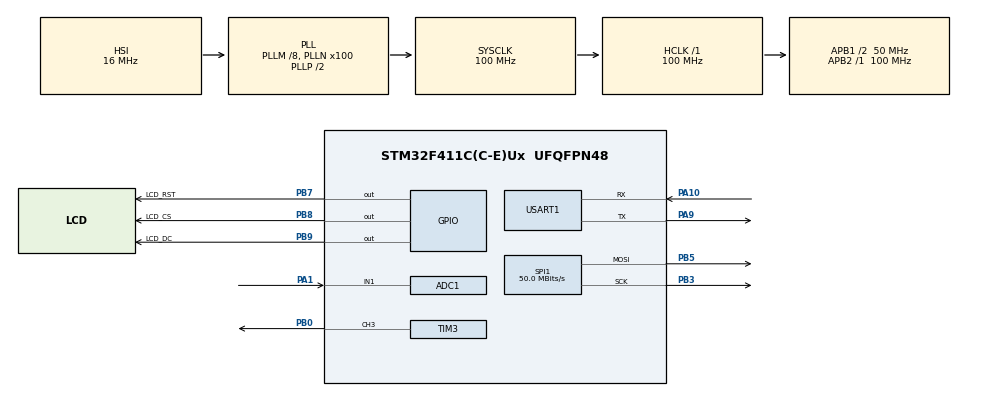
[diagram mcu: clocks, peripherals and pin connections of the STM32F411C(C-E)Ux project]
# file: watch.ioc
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ADC1.Channel-0\#ChannelRegularConversion=ADC_CHANNEL_1
ADC1.NbrOfConversionFlag=1
ADC1.Rank-0\#ChannelRegularConversion=1
ADC1.SamplingTime-0\#ChannelRegularConversion=ADC_SAMPLETIME_3CYCLES
ADC1.master=1
Dma.Request0=SPI1_TX
Dma.Request1=USART1_RX
Dma.Request2=USART1_TX
Dma.SPI1_TX.0.Direction=DMA_MEMORY_TO_PERIPH
Dma.SPI1_TX.0.FIFOMode=DMA_FIFOMODE_DISABLE
Dma.SPI1_TX.0.Instance=DMA2_Stream2
Dma.SPI1_TX.0.MemDataAlignment=DMA_MDATAALIGN_BYTE
Dma.SPI1_TX.0.MemInc=DMA_MINC_ENABLE
Dma.SPI1_TX.0.Mode=DMA_NORMAL
Dma.SPI1_TX.0.PeriphDataAlignment=DMA_PDATAALIGN_BYTE
Dma.SPI1_TX.0.PeriphInc=DMA_PINC_DISABLE
Dma.SPI1_TX.0.Priority=DMA_PRIORITY_LOW
Dma.USART1_RX.1.Direction=DMA_PERIPH_TO_MEMORY
Dma.USART1_RX.1.FIFOMode=DMA_FIFOMODE_DISABLE
Dma.USART1_RX.1.Instance=DMA2_Stream5
Dma.USART1_RX.1.MemDataAlignment=DMA_MDATAALIGN_BYTE
Dma.USART1_RX.1.MemInc=DMA_MINC_ENABLE
Dma.USART1_RX.1.Mode=DMA_NORMAL
Dma.USART1_RX.1.PeriphDataAlignment=DMA_PDATAALIGN_BYTE
Dma.USART1_RX.1.PeriphInc=DMA_PINC_DISABLE
Dma.USART1_RX.1.Priority=DMA_PRIORITY_LOW
Dma.USART1_TX.2.Direction=DMA_MEMORY_TO_PERIPH
Dma.USART1_TX.2.FIFOMode=DMA_FIFOMODE_DISABLE
Dma.USART1_TX.2.Instance=DMA2_Stream7
Dma.USART1_TX.2.MemDataAlignment=DMA_MDATAALIGN_BYTE
Dma.USART1_TX.2.MemInc=DMA_MINC_ENABLE
Dma.USART1_TX.2.Mode=DMA_NORMAL
Dma.USART1_TX.2.PeriphDataAlignment=DMA_PDATAALIGN_BYTE
Dma.USART1_TX.2.PeriphInc=DMA_PINC_DISABLE
Dma.USART1_TX.2.Priority=DMA_PRIORITY_LOW
FREERTOS.Tasks01=defaultTask,24,128,StartDefaultTask,Default,NULL,Dynamic,NULL,NULL
FREERTOS.configUSE_IDLE_HOOK=1
FREERTOS.configUSE_TICK_HOOK=1
Mcu.Family=STM32F4
Mcu.Name=STM32F411C(C-E)Ux
Mcu.Package=UFQFPN48
NVIC.DMA2_Stream2_IRQn=true\:5\:0\:true\:false\:true\:true\:false\:true\:true
NVIC.DMA2_Stream5_IRQn=true\:5\:0\:false\:false\:true\:true\:false\:true\:true
NVIC.DMA2_Stream7_IRQn=true\:5\:0\:false\:false\:true\:true\:false\:true\:true
NVIC.PriorityGroup=NVIC_PRIORITYGROUP_4
NVIC.TIM1_UP_TIM10_IRQn=true\:15\:0\:false\:false\:true\:false\:false\:true\:true
NVIC.TimeBase=TIM1_UP_TIM10_IRQn
NVIC.TimeBaseIP=TIM1
NVIC.USART1_IRQn=true\:5\:0\:false\:false\:true\:true\:true\:true\:true
PA1.Signal=ADCx_IN1
PA10.Mode=Asynchronous
PA10.Signal=USART1_RX
PA13.Mode=Serial_Wire
PA13.Signal=SYS_JTMS-SWDIO
PA14.Mode=Serial_Wire
PA14.Signal=SYS_JTCK-SWCLK
PA9.Mode=Asynchronous
PA9.Signal=USART1_TX
PB0.Signal=S_TIM3_CH3
PB3.Mode=TX_Only_Simplex_Unidirect_Master
PB3.Signal=SPI1_SCK
PB5.Mode=TX_Only_Simplex_Unidirect_Master
PB5.Signal=SPI1_MOSI
PB7.GPIO_Label=LCD_RST
PB7.Signal=GPIO_Output
PB8.GPIO_Label=LCD_CS
PB8.Signal=GPIO_Output
PB9.GPIO_Label=LCD_DC
PB9.Signal=GPIO_Output
PC14-OSC32_IN.Mode=LSE-External-Oscillator
PC14-OSC32_IN.Signal=RCC_OSC32_IN
PC15-OSC32_OUT.Mode=LSE-External-Oscillator
PC15-OSC32_OUT.Signal=RCC_OSC32_OUT
ProjectManager.HeapSize=0x200
ProjectManager.StackSize=0x400
ProjectManager.TargetToolchain=MDK-ARM V5.32
RCC.48MHZClocksFreq_Value=50000000
RCC.AHBFreq_Value=100000000
RCC.APB1CLKDivider=RCC_HCLK_DIV2
RCC.APB1Freq_Value=50000000
RCC.APB1TimFreq_Value=100000000
RCC.APB2Freq_Value=100000000
RCC.APB2TimFreq_Value=100000000
RCC.CortexFreq_Value=100000000
RCC.HCLKFreq_Value=100000000
RCC.HSE_VALUE=25000000
RCC.HSI_VALUE=16000000
RCC.PLLM=8
RCC.PLLN=100
RCC.SYSCLKFreq_VALUE=100000000
RCC.SYSCLKSource=RCC_SYSCLKSOURCE_PLLCLK
RCC.VCOOutputFreq_Value=200000000
SH.ADCx_IN1.0=ADC1_IN1,IN1
SH.S_TIM3_CH3.0=TIM3_CH3,PWM Generation3 CH3
SPI1.CalculateBaudRate=50.0 MBits/s
SPI1.Direction=SPI_DIRECTION_2LINES
SPI1.Mode=SPI_MODE_MASTER
SPI1.VirtualType=VM_MASTER
TIM3.Channel-PWM\ Generation3\ CH3=TIM_CHANNEL_3
TIM3.Period=499
TIM3.Prescaler=99
USART1.VirtualMode=VM_ASYNC
VP_FREERTOS_VS_CMSIS_V2.Mode=CMSIS_V2
VP_SYS_VS_tim1.Mode=TIM1
board=custom

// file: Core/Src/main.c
/* USER CODE BEGIN Header */
/**
  ******************************************************************************
  * @file           : main.c
  * @brief          : Main program body
  ******************************************************************************
  * @attention
  *
  * Copyright (c) 2026 STMicroelectronics.
  * All rights reserved.
  *
  * This software is licensed under terms that can be found in the LICENSE file
  * in the root directory of this software component.
  * If no LICENSE file comes with this software, it is provided AS-IS.
  *
  ******************************************************************************
  */
/* USER CODE END Header */
#include "main.h"
#include "cmsis_os.h"
#include "adc.h"
#include "dma.h"
#include "spi.h"
#include "tim.h"
#include "usart.h"
#include "gpio.h"

/* USER CODE BEGIN Includes */
#include "../../BSP/LCD/lcd_init.h"
#include "../../BSP/LCD/lcd.h"
#include "../../BSP/TOUCH/CST816.h"
#include "../../BSP/IIC/iic_hal.h"
#include "../../BSP/AHT21/AHT21.h"
#include "../../BSP/KEY/key.h"
#include "../../BSP/BL24C02/DataSave.h"
#include "../../BSP/KT6328/KT6328.h"
#include "../../BSP/SPL06_001/SPL06_001.h"
#include "../../SYSTEM/delay.h"
#include "../../LVGL/lvgl/lvgl.h"
#include "../../LVGL/lvgl/src/porting/lv_port_disp.h"
#include "../../LVGL/lvgl/src/porting/lv_port_indev.h"
#include "../../User/Tasks/inc/user_TaskInit.h"
#include "string.h"
#include "stdio.h"
/* USER CODE END Includes */

/* USER CODE BEGIN PV */
extern TIM_HandleTypeDef        htim1;
/* USER CODE END PV */

void SystemClock_Config(void);
void MX_FREERTOS_Init(void);

int main(void)
{

  /* MCU Configuration--------------------------------------------------------*/

  /* Reset of all peripherals, Initializes the Flash interface and the Systick. */
  HAL_Init();

  /* Configure the system clock */
  SystemClock_Config();

  /* Initialize all configured peripherals */
  MX_GPIO_Init();
  MX_DMA_Init();
  MX_TIM3_Init();
  MX_SPI1_Init();
  MX_USART1_UART_Init();
  MX_ADC1_Init();
  /* USER CODE BEGIN 2 */
	TIM1_CH3N_PWM_Init();
	__HAL_TIM_SET_COMPARE(&htim1, TIM_CHANNEL_3, 0);

    key_init();
  delay_init();
  SPL_init();
  #if !SOFTWARE_SPI
    lcd_openLight();
    lcd_setLight(100);
  #endif
	lcd_init();
	lcd_clearScreen(BLACK);

    CST816_GPIO_Init();
    CST816_RESET();
	AHT21_Init();
  /* USER CODE END 2 */

  /* Init scheduler */
  osKernelInitialize();  /* Call init function for freertos objects (in cmsis_os2.c) */
  MX_FREERTOS_Init();

  /* Start scheduler */
  osKernelStart();

  /* We should never get here as control is now taken by the scheduler */

  /* Infinite loop */
  while (1)
  {

  }
}

void SystemClock_Config(void)
{
  RCC_OscInitTypeDef RCC_OscInitStruct = {0};
  RCC_ClkInitTypeDef RCC_ClkInitStruct = {0};

  /** Configure the main internal regulator output voltage
  */
  __HAL_RCC_PWR_CLK_ENABLE();
  __HAL_PWR_VOLTAGESCALING_CONFIG(PWR_REGULATOR_VOLTAGE_SCALE1);

  /** Initializes the RCC Oscillators according to the specified parameters
  * in the RCC_OscInitTypeDef structure.
  */
  RCC_OscInitStruct.OscillatorType = RCC_OSCILLATORTYPE_HSI;
  RCC_OscInitStruct.HSIState = RCC_HSI_ON;
  RCC_OscInitStruct.HSICalibrationValue = RCC_HSICALIBRATION_DEFAULT;
  RCC_OscInitStruct.PLL.PLLState = RCC_PLL_ON;
  RCC_OscInitStruct.PLL.PLLSource = RCC_PLLSOURCE_HSI;
  RCC_OscInitStruct.PLL.PLLM = 8;
  RCC_OscInitStruct.PLL.PLLN = 100;
  RCC_OscInitStruct.PLL.PLLP = RCC_PLLP_DIV2;
  RCC_OscInitStruct.PLL.PLLQ = 4;
  if (HAL_RCC_OscConfig(&RCC_OscInitStruct) != HAL_OK)
  {
    Error_Handler();
  }

  /** Initializes the CPU, AHB and APB buses clocks
  */
  RCC_ClkInitStruct.ClockType = RCC_CLOCKTYPE_HCLK|RCC_CLOCKTYPE_SYSCLK
                              |RCC_CLOCKTYPE_PCLK1|RCC_CLOCKTYPE_PCLK2;
  RCC_ClkInitStruct.SYSCLKSource = RCC_SYSCLKSOURCE_PLLCLK;
  RCC_ClkInitStruct.AHBCLKDivider = RCC_SYSCLK_DIV1;
  RCC_ClkInitStruct.APB1CLKDivider = RCC_HCLK_DIV2;
  RCC_ClkInitStruct.APB2CLKDivider = RCC_HCLK_DIV1;

  if (HAL_RCC_ClockConfig(&RCC_ClkInitStruct, FLASH_LATENCY_3) != HAL_OK)
  {
    Error_Handler();
  }
}

void HAL_TIM_PeriodElapsedCallback(TIM_HandleTypeDef *htim)
{
  if (htim->Instance == TIM1)
  {
    HAL_IncTick();
  }
}

void Error_Handler(void)
{
  __disable_irq();
  while (1)
  {
  }
}

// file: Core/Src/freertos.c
/* USER CODE BEGIN Header */
/**
  ******************************************************************************
  * File Name          : freertos.c
  * Description        : Code for freertos applications
  ******************************************************************************
  * @attention
  *
  * Copyright (c) 2026 STMicroelectronics.
  * All rights reserved.
  *
  * This software is licensed under terms that can be found in the LICENSE file
  * in the root directory of this software component.
  * If no LICENSE file comes with this software, it is provided AS-IS.
  *
  ******************************************************************************
  */
/* USER CODE END Header */

#include "FreeRTOS.h"
#include "task.h"
#include "main.h"
#include "cmsis_os.h"

/* USER CODE BEGIN Includes */
#include "../../User/Tasks/Inc/user_TaskInit.h"
/* USER CODE END Includes */

/* USER CODE BEGIN Variables */
extern TIM_HandleTypeDef        htim1;
/* USER CODE END Variables */
/* Definitions for defaultTask */
osThreadId_t defaultTaskHandle;
const osThreadAttr_t defaultTask_attributes = {
  .name = "defaultTask",
  .stack_size = 128 * 4,
  .priority = (osPriority_t) osPriorityNormal,
};

void StartDefaultTask(void *argument);

void MX_FREERTOS_Init(void); /* (MISRA C 2004 rule 8.1) */

/* Hook prototypes */
void vApplicationIdleHook(void);
void vApplicationTickHook(void);

/* USER CODE BEGIN 2 */
void vApplicationIdleHook( void )
{
   /* vApplicationIdleHook() will only be called if configUSE_IDLE_HOOK is set
   to 1 in FreeRTOSConfig.h. It will be called on each iteration of the idle
   task. It is essential that code added to this hook function never attempts
   to block in any way (for example, call xQueueReceive() with a block time
   specified, or call vTaskDelay()). If the application makes use of the
   vTaskDelete() API function (as this demo application does) then it is also
   important that vApplicationIdleHook() is permitted to return to its calling
   function, because it is the responsibility of the idle task to clean up
   memory allocated by the kernel to any task that has since been deleted. */

}
/* USER CODE END 2 */

/* USER CODE BEGIN 3 */
void vApplicationTickHook( void )
{
   /* This function will be called by each tick interrupt if
   configUSE_TICK_HOOK is set to 1 in FreeRTOSConfig.h. User code can be
   added here, but the tick hook is called from an interrupt context, so
   code must not attempt to block, and only the interrupt safe FreeRTOS API
   functions can be used (those that end in FromISR()). */
	TaskTickHook();
}
/* USER CODE END 3 */

void MX_FREERTOS_Init(void) {
  /* USER CODE BEGIN Init */
     UserTaskInit();

  /* USER CODE END Init */

  /* Create the thread(s) */
  /* creation of defaultTask */
  defaultTaskHandle = osThreadNew(StartDefaultTask, NULL, &defaultTask_attributes);

}

void StartDefaultTask(void *argument)
{
  /* USER CODE BEGIN StartDefaultTask */
	static uint8_t flag = 0;
  /* Infinite loop */
  for(;;)
  {
       if(0 == flag)
       {
       __HAL_TIM_SET_COMPARE(&htim1, TIM_CHANNEL_3, 0);
           flag = 1;
       }
       else
       {
       __HAL_TIM_SET_COMPARE(&htim1, TIM_CHANNEL_3, 1);
           flag = 0;
       }

    osDelay(1000);
  }
  /* USER CODE END StartDefaultTask */
}
